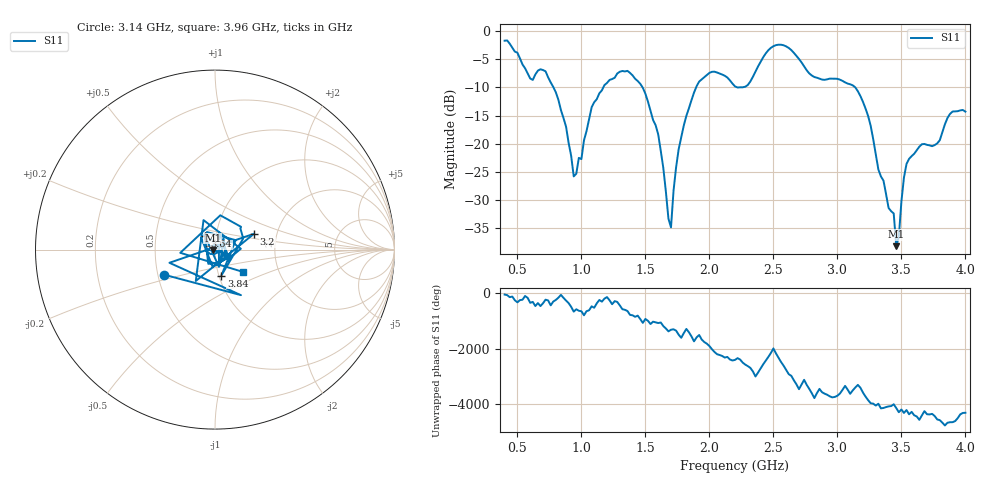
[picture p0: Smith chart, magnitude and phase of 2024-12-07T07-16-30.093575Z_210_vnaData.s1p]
!Created with skrf (http://scikit-rf.org).
# Hz S RI R 50.0
!freq ReS11 ImS11
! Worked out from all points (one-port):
!   181 points, 400 MHz to 4 GHz, reference 50 ohm
!   lowest |S11| = -38.2 dB at 3.46 GHz (marker M1), VSWR 1.02, Z = 48.8 - j0.13 ohm
!   |S11| at or under -10 dB: 781.7 MHz to 1.171 GHz (389.7 MHz wide, 39.9 % of centre); 1.478 GHz to 1.896 GHz (418.5 MHz wide, 24.8 % of centre); 3.14 GHz to end of sweep (the widest 3 of 4)
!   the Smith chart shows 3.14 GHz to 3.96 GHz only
!   S11 on the Smith chart (normalised r, x): 3.14 GHz: 0.54, -0.17; 3.2 GHz: 1.52, +0.29; 3.64 GHz: 0.88, +0.13; 3.84 GHz: 1.03, -0.30; 3.96 GHz: 1.31, -0.34
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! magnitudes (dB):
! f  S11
! 400 MHz  -1.7
! 600 MHz  -8.4
! 720 MHz  -7.1
! 860 MHz  -15.4
! 940 MHz  -25.8
! 1.08 GHz  -13.5
! 1.3 GHz  -7.2
! 1.5 GHz  -11.1
! 1.6 GHz  -18.4
! 1.7 GHz  -34.9
! 1.76 GHz  -21.0
! 1.92 GHz  -9.0
! 2.2 GHz  -9.8
! 2.5 GHz  -2.7
! 2.66 GHz  -3.9
! 3.1 GHz  -9.5
! 3.14 GHz  -10.0
! 3.2 GHz  -12.6
! 3.4 GHz  -31.4
! 3.44 GHz  -32.4
! 3.46 GHz  -38.2
! 3.48 GHz  -36.5
! 3.52 GHz  -26.0
! 3.56 GHz  -22.7
! 3.64 GHz  -20.5
! 3.84 GHz  -16.6
! 3.96 GHz  -14.1
! 4 GHz  -14.3
